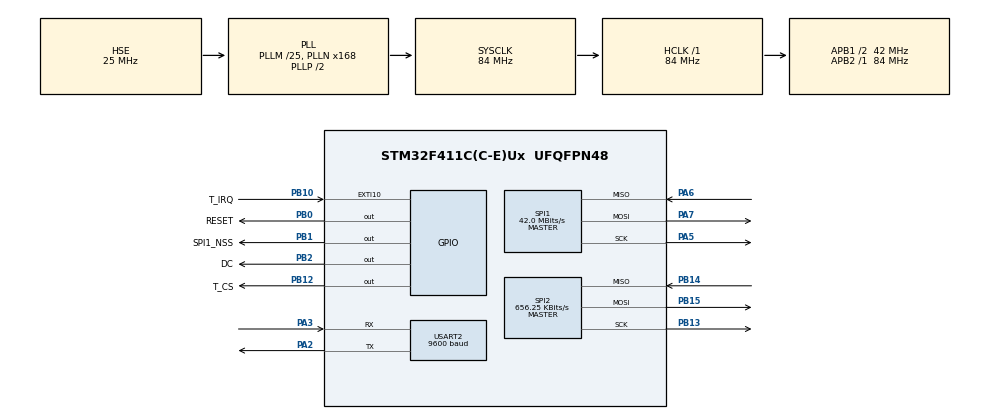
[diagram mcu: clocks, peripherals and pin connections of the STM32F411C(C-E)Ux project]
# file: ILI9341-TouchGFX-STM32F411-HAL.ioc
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Dma.Request0=SPI1_TX
Dma.SPI1_TX.0.Direction=DMA_MEMORY_TO_PERIPH
Dma.SPI1_TX.0.FIFOMode=DMA_FIFOMODE_ENABLE
Dma.SPI1_TX.0.FIFOThreshold=DMA_FIFO_THRESHOLD_FULL
Dma.SPI1_TX.0.Instance=DMA2_Stream5
Dma.SPI1_TX.0.MemBurst=DMA_MBURST_SINGLE
Dma.SPI1_TX.0.MemDataAlignment=DMA_MDATAALIGN_BYTE
Dma.SPI1_TX.0.MemInc=DMA_MINC_ENABLE
Dma.SPI1_TX.0.Mode=DMA_NORMAL
Dma.SPI1_TX.0.PeriphBurst=DMA_PBURST_SINGLE
Dma.SPI1_TX.0.PeriphDataAlignment=DMA_PDATAALIGN_BYTE
Dma.SPI1_TX.0.PeriphInc=DMA_PINC_DISABLE
Dma.SPI1_TX.0.Priority=DMA_PRIORITY_LOW
Mcu.Family=STM32F4
Mcu.Name=STM32F411C(C-E)Ux
Mcu.Package=UFQFPN48
NVIC.DMA2_Stream5_IRQn=true\:0\:0\:false\:false\:true\:false\:true\:true
NVIC.EXTI15_10_IRQn=true\:0\:0\:false\:false\:true\:true\:true\:true
NVIC.PriorityGroup=NVIC_PRIORITYGROUP_4
NVIC.SPI1_IRQn=true\:0\:0\:false\:false\:true\:true\:true\:true
NVIC.TIM1_TRG_COM_TIM11_IRQn=true\:15\:0\:false\:false\:true\:false\:true\:true
NVIC.TIM2_IRQn=true\:0\:0\:false\:false\:true\:true\:true\:true
NVIC.TimeBase=TIM1_TRG_COM_TIM11_IRQn
NVIC.TimeBaseIP=TIM11
PA13.Mode=Serial_Wire
PA13.Signal=SYS_JTMS-SWDIO
PA14.Mode=Serial_Wire
PA14.Signal=SYS_JTCK-SWCLK
PA2.Mode=Asynchronous
PA2.Signal=USART2_TX
PA3.Mode=Asynchronous
PA3.Signal=USART2_RX
PA5.Mode=Full_Duplex_Master
PA5.Signal=SPI1_SCK
PA6.Mode=Full_Duplex_Master
PA6.Signal=SPI1_MISO
PA7.Mode=Full_Duplex_Master
PA7.Signal=SPI1_MOSI
PB0.GPIO_Label=RESET
PB0.Signal=GPIO_Output
PB1.GPIO_Label=SPI1_NSS
PB1.Signal=GPIO_Output
PB10.GPIO_Label=T_IRQ
PB10.GPIO_ModeDefaultEXTI=GPIO_MODE_IT_FALLING
PB10.GPIO_PuPd=GPIO_PULLUP
PB10.Signal=GPXTI10
PB12.GPIO_Label=T_CS
PB12.Signal=GPIO_Output
PB13.Mode=Full_Duplex_Master
PB13.Signal=SPI2_SCK
PB14.Mode=Full_Duplex_Master
PB14.Signal=SPI2_MISO
PB15.Mode=Full_Duplex_Master
PB15.Signal=SPI2_MOSI
PB2.GPIO_Label=DC
PB2.Signal=GPIO_Output
PH0\ -\ OSC_IN.Mode=HSE-External-Oscillator
PH0\ -\ OSC_IN.Signal=RCC_OSC_IN
PH1\ -\ OSC_OUT.Mode=HSE-External-Oscillator
PH1\ -\ OSC_OUT.Signal=RCC_OSC_OUT
ProjectManager.HeapSize=0x800
ProjectManager.StackSize=0x800
ProjectManager.TargetToolchain=STM32CubeIDE
RCC.48MHZClocksFreq_Value=42000000
RCC.AHBFreq_Value=84000000
RCC.APB1CLKDivider=RCC_HCLK_DIV2
RCC.APB1Freq_Value=42000000
RCC.APB1TimFreq_Value=84000000
RCC.APB2Freq_Value=84000000
RCC.APB2TimFreq_Value=84000000
RCC.CortexFreq_Value=84000000
RCC.EnbaleCSS=true
RCC.HCLKFreq_Value=84000000
RCC.HSE_VALUE=25000000
RCC.HSI_VALUE=16000000
RCC.LSE_VALUE=32768
RCC.PLLM=25
RCC.PLLN=168
RCC.PLLSourceVirtual=RCC_PLLSOURCE_HSE
RCC.SYSCLKFreq_VALUE=84000000
RCC.SYSCLKSource=RCC_SYSCLKSOURCE_PLLCLK
RCC.VCOOutputFreq_Value=168000000
SPI1.CalculateBaudRate=42.0 MBits/s
SPI1.Direction=SPI_DIRECTION_2LINES
SPI1.Mode=SPI_MODE_MASTER
SPI1.VirtualType=VM_MASTER
SPI2.BaudRatePrescaler=SPI_BAUDRATEPRESCALER_64
SPI2.CalculateBaudRate=656.25 KBits/s
SPI2.Direction=SPI_DIRECTION_2LINES
SPI2.Mode=SPI_MODE_MASTER
SPI2.VirtualType=VM_MASTER
STMicroelectronics.X-CUBE-TOUCHGFX.4.19.1.ApplicationCcGraphicsJjApplication=TouchGFXOoGenerator
STMicroelectronics.X-CUBE-TOUCHGFX.4.19.1.tgfx_buffering_strategy=Partial
STMicroelectronics.X-CUBE-TOUCHGFX.4.19.1.tgfx_custom_height=240
STMicroelectronics.X-CUBE-TOUCHGFX.4.19.1.tgfx_custom_width=320
STMicroelectronics.X-CUBE-TOUCHGFX.4.19.1_IsPackSelfContextualization=true
TIM2.Period=10000-1
TIM2.Prescaler=300-1
USART2.BaudRate=9600
USART2.VirtualMode=VM_ASYNC
VP_CRC_VS_CRC.Mode=CRC_Activate
VP_STMicroelectronics.X-CUBE-TOUCHGFX_VS_GraphicsJjApplication_4.19.1.Mode=GraphicsJjApplication
VP_SYS_VS_tim11.Mode=TIM11
VP_TIM2_VS_ClockSourceINT.Mode=Internal
board=custom

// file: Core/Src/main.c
/* USER CODE BEGIN Header */
/**
  ******************************************************************************
  * @file           : main.c
  * @brief          : Main program body
  ******************************************************************************
  * @attention
  *
  * Copyright (c) 2022 STMicroelectronics.
  * All rights reserved.
  *
  * This software is licensed under terms that can be found in the LICENSE file
  * in the root directory of this software component.
  * If no LICENSE file comes with this software, it is provided AS-IS.
  *
  ******************************************************************************
  */
/* USER CODE END Header */
#include "main.h"
#include "app_touchgfx.h"

/* USER CODE BEGIN Includes */
#include "ili9341.h"

#include "ex_struct.h"
/* USER CODE END Includes */

/* USER CODE BEGIN PD */
#define DEBUG 1
/* USER CODE END PD */

 CRC_HandleTypeDef hcrc;

SPI_HandleTypeDef hspi1;
SPI_HandleTypeDef hspi2;
DMA_HandleTypeDef hdma_spi1_tx;

TIM_HandleTypeDef htim2;

UART_HandleTypeDef huart2;

/* USER CODE BEGIN PV */

typedef struct Flags
{
	bool touched;
}flag_t;

flag_t Flg;

extern Coord_t Coord;

/* USER CODE END PV */

void SystemClock_Config(void);
static void MX_GPIO_Init(void);
static void MX_DMA_Init(void);
static void MX_SPI1_Init(void);
static void MX_SPI2_Init(void);
static void MX_CRC_Init(void);
static void MX_TIM2_Init(void);
static void MX_USART2_UART_Init(void);

int main(void)
{

  /* MCU Configuration--------------------------------------------------------*/

  /* Reset of all peripherals, Initializes the Flash interface and the Systick. */
  HAL_Init();

  /* Configure the system clock */
  SystemClock_Config();

  /* Initialize all configured peripherals */
  MX_GPIO_Init();
  MX_DMA_Init();
  MX_SPI1_Init();
  MX_SPI2_Init();
  MX_CRC_Init();
  MX_TIM2_Init();
  MX_USART2_UART_Init();
  MX_TouchGFX_Init();
  /* USER CODE BEGIN 2 */

	UART_Printf_Dbg("Start!\r\n");

	ILI9341_Init();
	HAL_TIM_Base_Start_IT(&htim2);

  /* USER CODE END 2 */

  /* Infinite loop */
  /* USER CODE BEGIN WHILE */
  while (1)
  {
	  if(Flg.touched)
	  {
#if(DEBUG)
		  UART_Printf_Dbg("Flg.touched = %i\r\n", Flg.touched);
		  UART_Printf_Dbg("x = %u, y = %u\r\n", Coord.x, Coord.y);
#endif

		  Flg.touched = false;
	  }

    /* USER CODE END WHILE */

  MX_TouchGFX_Process();
  }
}

void SystemClock_Config(void)
{
  RCC_OscInitTypeDef RCC_OscInitStruct = {0};
  RCC_ClkInitTypeDef RCC_ClkInitStruct = {0};

  /** Configure the main internal regulator output voltage
  */
  __HAL_RCC_PWR_CLK_ENABLE();
  __HAL_PWR_VOLTAGESCALING_CONFIG(PWR_REGULATOR_VOLTAGE_SCALE1);

  /** Initializes the RCC Oscillators according to the specified parameters
  * in the RCC_OscInitTypeDef structure.
  */
  RCC_OscInitStruct.OscillatorType = RCC_OSCILLATORTYPE_HSE;
  RCC_OscInitStruct.HSEState = RCC_HSE_ON;
  RCC_OscInitStruct.PLL.PLLState = RCC_PLL_ON;
  RCC_OscInitStruct.PLL.PLLSource = RCC_PLLSOURCE_HSE;
  RCC_OscInitStruct.PLL.PLLM = 25;
  RCC_OscInitStruct.PLL.PLLN = 168;
  RCC_OscInitStruct.PLL.PLLP = RCC_PLLP_DIV2;
  RCC_OscInitStruct.PLL.PLLQ = 4;
  if (HAL_RCC_OscConfig(&RCC_OscInitStruct) != HAL_OK)
  {
    Error_Handler();
  }

  /** Initializes the CPU, AHB and APB buses clocks
  */
  RCC_ClkInitStruct.ClockType = RCC_CLOCKTYPE_HCLK|RCC_CLOCKTYPE_SYSCLK
                              |RCC_CLOCKTYPE_PCLK1|RCC_CLOCKTYPE_PCLK2;
  RCC_ClkInitStruct.SYSCLKSource = RCC_SYSCLKSOURCE_PLLCLK;
  RCC_ClkInitStruct.AHBCLKDivider = RCC_SYSCLK_DIV1;
  RCC_ClkInitStruct.APB1CLKDivider = RCC_HCLK_DIV2;
  RCC_ClkInitStruct.APB2CLKDivider = RCC_HCLK_DIV1;

  if (HAL_RCC_ClockConfig(&RCC_ClkInitStruct, FLASH_LATENCY_2) != HAL_OK)
  {
    Error_Handler();
  }

  /** Enables the Clock Security System
  */
  HAL_RCC_EnableCSS();
}

static void MX_CRC_Init(void)
{

  hcrc.Instance = CRC;
  if (HAL_CRC_Init(&hcrc) != HAL_OK)
  {
    Error_Handler();
  }

}

static void MX_SPI1_Init(void)
{

  /* SPI1 parameter configuration*/
  hspi1.Instance = SPI1;
  hspi1.Init.Mode = SPI_MODE_MASTER;
  hspi1.Init.Direction = SPI_DIRECTION_2LINES;
  hspi1.Init.DataSize = SPI_DATASIZE_8BIT;
  hspi1.Init.CLKPolarity = SPI_POLARITY_LOW;
  hspi1.Init.CLKPhase = SPI_PHASE_1EDGE;
  hspi1.Init.NSS = SPI_NSS_SOFT;
  hspi1.Init.BaudRatePrescaler = SPI_BAUDRATEPRESCALER_2;
  hspi1.Init.FirstBit = SPI_FIRSTBIT_MSB;
  hspi1.Init.TIMode = SPI_TIMODE_DISABLE;
  hspi1.Init.CRCCalculation = SPI_CRCCALCULATION_DISABLE;
  hspi1.Init.CRCPolynomial = 10;
  if (HAL_SPI_Init(&hspi1) != HAL_OK)
  {
    Error_Handler();
  }

}

static void MX_SPI2_Init(void)
{

  /* SPI2 parameter configuration*/
  hspi2.Instance = SPI2;
  hspi2.Init.Mode = SPI_MODE_MASTER;
  hspi2.Init.Direction = SPI_DIRECTION_2LINES;
  hspi2.Init.DataSize = SPI_DATASIZE_8BIT;
  hspi2.Init.CLKPolarity = SPI_POLARITY_LOW;
  hspi2.Init.CLKPhase = SPI_PHASE_1EDGE;
  hspi2.Init.NSS = SPI_NSS_SOFT;
  hspi2.Init.BaudRatePrescaler = SPI_BAUDRATEPRESCALER_64;
  hspi2.Init.FirstBit = SPI_FIRSTBIT_MSB;
  hspi2.Init.TIMode = SPI_TIMODE_DISABLE;
  hspi2.Init.CRCCalculation = SPI_CRCCALCULATION_DISABLE;
  hspi2.Init.CRCPolynomial = 10;
  if (HAL_SPI_Init(&hspi2) != HAL_OK)
  {
    Error_Handler();
  }

}

static void MX_TIM2_Init(void)
{

  TIM_ClockConfigTypeDef sClockSourceConfig = {0};
  TIM_MasterConfigTypeDef sMasterConfig = {0};

  htim2.Instance = TIM2;
  htim2.Init.Prescaler = 300-1;
  htim2.Init.CounterMode = TIM_COUNTERMODE_UP;
  htim2.Init.Period = 10000-1;
  htim2.Init.ClockDivision = TIM_CLOCKDIVISION_DIV1;
  htim2.Init.AutoReloadPreload = TIM_AUTORELOAD_PRELOAD_DISABLE;
  if (HAL_TIM_Base_Init(&htim2) != HAL_OK)
  {
    Error_Handler();
  }
  sClockSourceConfig.ClockSource = TIM_CLOCKSOURCE_INTERNAL;
  if (HAL_TIM_ConfigClockSource(&htim2, &sClockSourceConfig) != HAL_OK)
  {
    Error_Handler();
  }
  sMasterConfig.MasterOutputTrigger = TIM_TRGO_RESET;
  sMasterConfig.MasterSlaveMode = TIM_MASTERSLAVEMODE_DISABLE;
  if (HAL_TIMEx_MasterConfigSynchronization(&htim2, &sMasterConfig) != HAL_OK)
  {
    Error_Handler();
  }

}

static void MX_USART2_UART_Init(void)
{

  huart2.Instance = USART2;
  huart2.Init.BaudRate = 9600;
  huart2.Init.WordLength = UART_WORDLENGTH_8B;
  huart2.Init.StopBits = UART_STOPBITS_1;
  huart2.Init.Parity = UART_PARITY_NONE;
  huart2.Init.Mode = UART_MODE_TX_RX;
  huart2.Init.HwFlowCtl = UART_HWCONTROL_NONE;
  huart2.Init.OverSampling = UART_OVERSAMPLING_16;
  if (HAL_UART_Init(&huart2) != HAL_OK)
  {
    Error_Handler();
  }

}

static void MX_DMA_Init(void)
{

  /* DMA controller clock enable */
  __HAL_RCC_DMA2_CLK_ENABLE();

  /* DMA interrupt init */
  /* DMA2_Stream5_IRQn interrupt configuration */
  HAL_NVIC_SetPriority(DMA2_Stream5_IRQn, 0, 0);
  HAL_NVIC_EnableIRQ(DMA2_Stream5_IRQn);

}

static void MX_GPIO_Init(void)
{
  GPIO_InitTypeDef GPIO_InitStruct = {0};

  /* GPIO Ports Clock Enable */
  __HAL_RCC_GPIOH_CLK_ENABLE();
  __HAL_RCC_GPIOA_CLK_ENABLE();
  __HAL_RCC_GPIOB_CLK_ENABLE();

  /*Configure GPIO pin Output Level */
  HAL_GPIO_WritePin(GPIOB, RESET_Pin|SPI1_NSS_Pin|DC_Pin|T_CS_Pin, GPIO_PIN_RESET);

  /*Configure GPIO pins : RESET_Pin SPI1_NSS_Pin DC_Pin T_CS_Pin */
  GPIO_InitStruct.Pin = RESET_Pin|SPI1_NSS_Pin|DC_Pin|T_CS_Pin;
  GPIO_InitStruct.Mode = GPIO_MODE_OUTPUT_PP;
  GPIO_InitStruct.Pull = GPIO_NOPULL;
  GPIO_InitStruct.Speed = GPIO_SPEED_FREQ_LOW;
  HAL_GPIO_Init(GPIOB, &GPIO_InitStruct);

  /*Configure GPIO pin : T_IRQ_Pin */
  GPIO_InitStruct.Pin = T_IRQ_Pin;
  GPIO_InitStruct.Mode = GPIO_MODE_IT_FALLING;
  GPIO_InitStruct.Pull = GPIO_PULLUP;
  HAL_GPIO_Init(T_IRQ_GPIO_Port, &GPIO_InitStruct);

  /* EXTI interrupt init*/
  HAL_NVIC_SetPriority(EXTI15_10_IRQn, 0, 0);
  HAL_NVIC_EnableIRQ(EXTI15_10_IRQn);

}

/* USER CODE BEGIN 4 */
extern void touchgfxSignalVSync(void);

void HAL_GPIO_EXTI_Callback(uint16_t GPIO_Pin)
{
  switch (GPIO_Pin)
  {
		case T_IRQ_Pin:
		Flg.touched = true;

		break;

		default:
		// unhandled interrupt pin
		break;
  }
}
/* USER CODE END 4 */

void HAL_TIM_PeriodElapsedCallback(TIM_HandleTypeDef *htim)
{
  /* USER CODE BEGIN Callback 0 */

	if (htim->Instance == TIM2) {
	touchgfxSignalVSync();
	}

  /* USER CODE END Callback 0 */
  if (htim->Instance == TIM11) {
    HAL_IncTick();
  }
}

void Error_Handler(void)
{
  __disable_irq();
  while (1)
  {
  }
}
